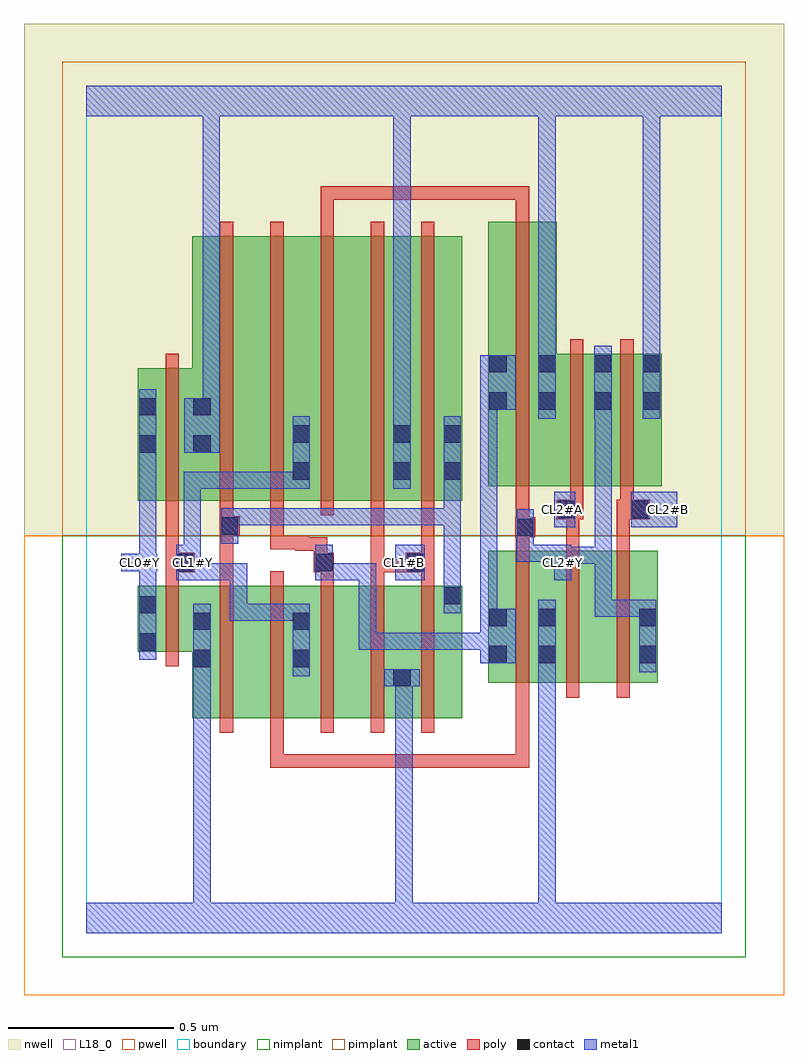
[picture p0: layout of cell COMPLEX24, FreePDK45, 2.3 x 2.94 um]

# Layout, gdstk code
import gdstk
lib = gdstk.Library(unit=1e-6, precision=1e-09)
def R(c, l, rs):  # rectangles x0, y0, x1, y1
    for r in rs: c.add(gdstk.rectangle(r[:2], r[2:], *l))
def A(c, l, x, y, w, h, nx, ny, dx, dy):  # array of equal rectangles
    R(c, l, [(x+i*dx, y+j*dy, x+i*dx+w, y+j*dy+h) for i in range(nx) for j in range(ny)])
active = (1, 0)
pwell = (2, 0)
nwell = (3, 0)
nimplant = (4, 0)
pimplant = (5, 0)
poly = (9, 0)
contact = (10, 0)
metal1 = (11, 0)
L18_0 = (18, 0)
boundary = (235, 0)

complex24 = lib.new_cell('COMPLEX24')
R(complex24, active, [(0.32,0.65,0.38,1.05), (0.32,0.65,0.5,1.05), (0.5,0.65,0.68,1.05), (0.62,0.65,0.804,1.05), (0.804,0.65,0.984,1.05), (0.924,0.65,0.984,1.05), (0.924,0.65,1.136,1.05), (1.076,0.65,1.136,1.05), (0.62,0.756,0.68,1.05), (1.214,0.756,1.274,1.156), (1.214,0.756,1.422,1.156), (1.362,0.756,1.546,1.156), (1.362,0.756,1.422,0.984), (1.546,0.756,1.726,1.156), (1.666,0.756,1.726,1.156), (0.156,0.85,0.38,1.05), (0.156,0.85,0.216,1.05), (0.156,1.306,0.216,1.706), (0.156,1.306,0.38,1.706), (0.32,1.306,0.5,2.106), (0.5,1.306,0.68,2.106), (0.62,1.306,0.804,2.106), (0.804,1.306,0.984,2.106), (0.924,1.306,1.136,2.106), (1.076,1.306,1.136,2.106), (0.62,1.338,0.68,2.044), (0.924,1.338,0.984,2.044), (1.214,1.35,1.422,2.15), (1.214,1.35,1.274,2.044), (1.362,1.35,1.59,1.75), (1.53,1.35,1.59,1.75), (1.53,1.35,1.738,1.75), (1.678,1.35,1.738,1.75), (1.362,1.388,1.422,1.878), (0.32,1.408,0.38,2.106)])
R(complex24, pwell, [(-0.188,-0.188,2.108,1.2)])
R(complex24, nwell, [(-0.188,1.2,2.108,2.748)])
R(complex24, nimplant, [(-0.072,-0.072,1.992,1.2)])
R(complex24, pimplant, [(-0.072,1.2,1.992,2.632)])
A(complex24, poly, 0.404, 0.606, 0.04, 0.488, 5, 1, 0.152, 0)
A(complex24, poly, 1.298, 0.712, 0.04, 0.488, 3, 1, 0.152, 0)
A(complex24, poly, 0.708, 1.054, 0.04, 0.076, 3, 1, 0.152, 0)
A(complex24, poly, 0.404, 1.262, 0.04, 0.888, 5, 1, 0.152, 0)
R(complex24, poly, [(0.556,0.5,0.596,0.54), (0.556,0.5,0.596,0.54), (0.556,0.5,0.596,0.54), (0.556,0.5,0.596,0.646), (0.556,0.5,0.778,0.54), (0.738,0.5,0.778,0.54), (0.738,0.5,0.778,0.54), (0.738,0.5,0.778,0.54), (0.738,0.5,0.884,0.54), (0.844,0.5,0.884,0.54), (0.844,0.5,0.884,0.54), (0.844,0.5,0.884,0.54), (0.844,0.5,1.112,0.54), (1.072,0.5,1.112,0.54), (1.072,0.5,1.112,0.54), (1.072,0.5,1.112,0.54), (1.072,0.5,1.338,0.54), (1.298,0.5,1.338,0.54), (1.298,0.5,1.338,0.54), (1.298,0.5,1.338,0.54), (1.298,0.5,1.338,0.752), (0.24,0.806,0.28,1.094), (0.24,1.054,0.28,1.13), (0.404,1.054,0.444,1.24), (0.24,1.09,0.328,1.15), (0.688,1.09,0.748,1.15), (0.86,1.09,0.9,1.13), (0.86,1.09,0.9,1.13), (0.86,1.09,0.9,1.13), (0.86,1.09,1.006,1.13), (0.86,1.09,0.9,1.302), (0.966,1.09,1.006,1.13), (0.966,1.09,1.006,1.13), (0.966,1.09,1.052,1.15), (0.24,1.11,0.28,1.15), (0.24,1.11,0.28,1.15), (0.24,1.11,0.28,1.302), (0.688,1.11,0.728,1.196), (1.012,1.11,1.052,1.15), (1.012,1.11,1.052,1.15), (1.012,1.11,1.052,1.302), (0.632,1.156,0.728,1.196), (0.632,1.156,0.672,1.2), (0.688,1.156,0.728,1.196), (0.556,1.16,0.596,1.2), (0.556,1.16,0.672,1.2), (0.556,1.16,0.596,1.302), (1.298,1.16,1.338,1.236), (1.45,1.16,1.49,1.29), (1.602,1.16,1.642,1.29), (1.296,1.196,1.356,1.256), (0.404,1.2,0.444,1.24), (0.404,1.2,0.444,1.24), (0.404,1.2,0.464,1.26), (1.298,1.216,1.338,1.256), (1.298,1.216,1.338,1.256), (1.298,1.216,1.338,1.346), (0.404,1.22,0.444,1.302), (1.422,1.25,1.502,1.31), (1.45,1.25,1.49,1.29), (1.45,1.25,1.49,1.29), (1.602,1.25,1.702,1.31), (0.24,1.262,0.28,1.75), (1.462,1.27,1.502,1.346), (1.614,1.27,1.654,1.346), (1.614,1.27,1.654,1.31), (1.614,1.27,1.654,1.31), (1.298,1.306,1.338,2.194), (1.462,1.306,1.502,1.794), (1.614,1.306,1.654,1.794), (0.708,2.11,0.748,2.256), (1.298,2.154,1.338,2.256), (0.708,2.216,0.748,2.256), (0.708,2.216,0.778,2.256), (0.738,2.216,0.778,2.256), (0.738,2.216,0.9,2.256), (0.86,2.216,0.9,2.256), (0.86,2.216,0.9,2.256), (0.86,2.216,0.9,2.256), (0.86,2.216,1.124,2.256), (1.084,2.216,1.124,2.256), (1.084,2.216,1.124,2.256), (1.084,2.216,1.124,2.256), (1.084,2.216,1.338,2.256), (1.298,2.216,1.338,2.256), (1.298,2.216,1.338,2.256), (1.298,2.216,1.338,2.256)])
R(complex24, contact, [(0.928,0.746,0.98,0.798), (0.324,0.804,0.376,0.856), (0.624,0.804,0.676,0.856), (1.218,0.816,1.27,0.868), (1.366,0.816,1.418,0.868), (1.67,0.816,1.722,0.868), (0.16,0.854,0.212,0.906), (0.324,0.916,0.376,0.968), (0.624,0.916,0.676,0.968), (1.218,0.928,1.27,0.98), (1.366,0.928,1.418,0.98), (1.67,0.928,1.722,0.98), (0.16,0.966,0.212,1.018), (1.08,0.994,1.132,1.046), (0.272,1.094,0.324,1.146), (0.692,1.094,0.744,1.146), (0.97,1.094,1.022,1.146), (1.3,1.2,1.352,1.252), (0.408,1.204,0.46,1.256), (1.426,1.254,1.478,1.306), (1.646,1.254,1.698,1.306), (0.624,1.37,0.676,1.422), (0.928,1.37,0.98,1.422), (1.08,1.37,1.132,1.422), (0.16,1.452,0.212,1.504), (0.324,1.452,0.376,1.504), (0.624,1.482,0.676,1.534), (0.928,1.482,0.98,1.534), (1.08,1.482,1.132,1.534), (0.16,1.564,0.212,1.616), (0.324,1.564,0.376,1.616), (1.218,1.582,1.27,1.634), (1.366,1.582,1.418,1.634), (1.534,1.582,1.586,1.634), (1.682,1.582,1.734,1.634), (1.218,1.694,1.27,1.746), (1.366,1.694,1.418,1.746), (1.534,1.694,1.586,1.746), (1.682,1.694,1.734,1.746)])
R(complex24, metal1, [(0,0,1.92,0.092), (0.324,0.04,0.376,0.092), (0.324,0.04,0.376,0.092), (0.324,0.04,0.376,0.092), (0.324,0.04,0.376,0.092), (0.324,0.04,0.376,0.092), (0.324,0.04,0.376,0.092), (0.324,0.04,0.376,0.828), (0.934,0.04,0.986,0.092), (0.934,0.04,0.986,0.092), (0.934,0.04,0.986,0.092), (0.934,0.04,0.986,0.092), (0.934,0.04,0.986,0.092), (0.934,0.04,0.986,0.092), (0.934,0.04,0.986,0.092), (0.934,0.04,0.986,0.092), (0.934,0.04,0.986,0.092), (0.934,0.04,0.986,0.092), (0.934,0.04,0.986,0.092), (0.934,0.04,0.986,0.092), (0.934,0.04,0.986,0.798), (1.366,0.04,1.418,0.092), (1.366,0.04,1.418,0.092), (1.366,0.04,1.418,0.84), (0.9,0.746,1.008,0.798), (0.324,0.776,0.376,0.828), (0.324,0.776,0.376,0.828), (0.324,0.776,0.376,0.828), (0.324,0.776,0.376,0.828), (0.324,0.776,0.376,0.828), (0.324,0.776,0.376,0.828), (0.324,0.776,0.376,0.996), (0.624,0.776,0.676,0.996), (1.366,0.788,1.418,0.84), (1.366,0.788,1.418,0.84), (1.366,0.788,1.418,0.84), (1.366,0.788,1.418,0.84), (1.366,0.788,1.418,0.84), (1.366,0.788,1.418,0.84), (1.366,0.788,1.418,0.84), (1.366,0.788,1.418,0.84), (1.366,0.788,1.418,0.84), (1.366,0.788,1.418,0.84), (1.366,0.788,1.418,1.008), (1.67,0.788,1.722,1.008), (1.19,0.816,1.298,0.98), (0.16,0.826,0.212,1.046), (0.824,0.856,0.876,0.908), (0.824,0.856,0.876,1.118), (0.824,0.856,1.08,0.908), (1.028,0.856,1.08,0.908), (1.028,0.856,1.242,0.908), (1.19,0.856,1.242,0.908), (1.19,0.856,1.242,0.908), (1.19,0.928,1.242,0.98), (1.19,0.928,1.242,0.98), (1.19,0.928,1.242,0.98), (1.19,0.928,1.242,0.98), (1.19,0.928,1.242,1.634), (0.434,0.944,0.486,0.996), (0.434,0.944,0.634,0.996), (0.434,0.944,0.486,1.118), (0.582,0.944,0.634,0.996), (0.582,0.944,0.676,0.996), (1.536,0.956,1.588,1.008), (1.536,0.956,1.722,1.008), (1.536,0.956,1.588,1.168), (1.67,0.956,1.722,1.008), (1.67,0.956,1.722,1.008), (1.08,0.966,1.132,1.074), (0.16,0.994,0.212,1.146), (1.08,1.022,1.132,1.284), (0.272,1.066,0.346,1.174), (0.294,1.066,0.346,1.118), (0.294,1.066,0.346,1.118), (0.294,1.066,0.486,1.118), (0.294,1.066,0.346,1.394), (0.434,1.066,0.486,1.118), (0.434,1.066,0.486,1.118), (0.434,1.066,0.486,1.118), (0.692,1.066,0.744,1.118), (0.692,1.066,0.744,1.118), (0.692,1.066,0.744,1.174), (0.692,1.066,0.876,1.118), (0.824,1.066,0.876,1.118), (0.824,1.066,0.876,1.118), (0.824,1.066,0.876,1.118), (0.824,1.066,0.876,1.118), (0.824,1.066,0.876,1.118), (0.934,1.066,1.022,1.174), (1.414,1.066,1.466,1.174), (0.106,1.094,0.214,1.146), (0.16,1.094,0.212,1.476), (1.414,1.116,1.588,1.168), (1.536,1.116,1.588,1.168), (1.536,1.116,1.588,1.168), (1.536,1.116,1.588,1.168), (1.536,1.116,1.588,1.168), (1.536,1.116,1.588,1.168), (1.536,1.116,1.588,1.606), (1.3,1.122,1.466,1.174), (1.3,1.122,1.352,1.28), (0.408,1.176,0.46,1.284), (1.414,1.226,1.478,1.334), (1.646,1.226,1.786,1.334), (0.408,1.232,0.46,1.284), (0.408,1.232,0.46,1.284), (0.408,1.232,0.634,1.284), (0.582,1.232,0.634,1.284), (0.582,1.232,0.634,1.284), (0.582,1.232,0.634,1.284), (0.582,1.232,0.744,1.284), (0.692,1.232,0.744,1.284), (0.692,1.232,0.744,1.284), (0.692,1.232,0.744,1.284), (0.692,1.232,0.854,1.284), (0.802,1.232,0.854,1.284), (0.802,1.232,0.854,1.284), (0.802,1.232,0.854,1.284), (0.802,1.232,1.132,1.284), (1.08,1.232,1.132,1.284), (1.08,1.232,1.132,1.284), (1.08,1.232,1.132,1.284), (1.08,1.232,1.132,1.284), (1.08,1.232,1.132,1.284), (1.08,1.232,1.132,1.394), (0.294,1.342,0.346,1.394), (0.294,1.342,0.346,1.394), (0.294,1.342,0.346,1.394), (0.294,1.342,0.524,1.394), (0.472,1.342,0.524,1.394), (0.472,1.342,0.524,1.394), (0.472,1.342,0.524,1.394), (0.472,1.342,0.634,1.394), (0.582,1.342,0.634,1.394), (0.582,1.342,0.676,1.394), (0.624,1.342,0.676,1.562), (0.928,1.342,0.98,1.562), (1.08,1.342,1.132,1.562), (0.16,1.424,0.212,1.476), (0.16,1.424,0.212,1.476), (0.16,1.424,0.212,1.644), (0.296,1.452,0.404,1.616), (0.928,1.51,0.98,1.562), (0.928,1.51,0.98,1.562), (0.928,1.51,0.98,2.52), (1.366,1.554,1.418,1.774), (1.534,1.554,1.588,1.774), (1.682,1.554,1.734,1.774), (0.352,1.564,0.404,1.616), (0.352,1.564,0.404,1.616), (0.352,1.564,0.404,2.52), (1.19,1.582,1.242,1.634), (1.19,1.582,1.242,1.634), (1.19,1.582,1.298,1.746), (1.366,1.722,1.418,1.774), (1.366,1.722,1.418,1.774), (1.366,1.722,1.418,2.52), (1.682,1.722,1.734,1.774), (1.682,1.722,1.734,1.774), (1.682,1.722,1.734,1.774), (1.682,1.722,1.734,1.774), (1.682,1.722,1.734,1.774), (1.682,1.722,1.734,1.774), (1.682,1.722,1.734,1.774), (1.682,1.722,1.734,1.774), (1.682,1.722,1.734,2.52), (0,2.468,1.92,2.56), (0.352,2.468,0.404,2.52), (0.352,2.468,0.404,2.52), (0.352,2.468,0.404,2.52), (0.352,2.468,0.404,2.52), (0.352,2.468,0.404,2.52), (0.352,2.468,0.404,2.52), (0.928,2.468,0.98,2.52), (0.928,2.468,0.98,2.52), (0.928,2.468,0.98,2.52), (0.928,2.468,0.98,2.52), (0.928,2.468,0.98,2.52), (0.928,2.468,0.98,2.52), (1.366,2.468,1.418,2.52), (1.366,2.468,1.418,2.52), (1.366,2.468,1.418,2.52), (1.366,2.468,1.418,2.52), (1.366,2.468,1.418,2.52), (1.366,2.468,1.418,2.52), (1.682,2.468,1.734,2.52), (1.682,2.468,1.734,2.52), (1.682,2.468,1.734,2.52), (1.682,2.468,1.734,2.52), (1.682,2.468,1.734,2.52), (1.682,2.468,1.734,2.52), (1.682,2.468,1.734,2.52), (1.682,2.468,1.734,2.52)])
R(complex24, L18_0, [(0,0,1.92,0.092), (0.324,0.04,0.376,0.092), (0.324,0.04,0.376,0.092), (0.324,0.04,0.376,0.092), (0.324,0.04,0.376,0.092), (0.324,0.04,0.376,0.092), (0.324,0.04,0.376,0.092), (0.324,0.04,0.376,0.828), (0.934,0.04,0.986,0.092), (0.934,0.04,0.986,0.092), (0.934,0.04,0.986,0.092), (0.934,0.04,0.986,0.092), (0.934,0.04,0.986,0.092), (0.934,0.04,0.986,0.092), (0.934,0.04,0.986,0.092), (0.934,0.04,0.986,0.092), (0.934,0.04,0.986,0.092), (0.934,0.04,0.986,0.092), (0.934,0.04,0.986,0.092), (0.934,0.04,0.986,0.092), (0.934,0.04,0.986,0.798), (1.366,0.04,1.418,0.092), (1.366,0.04,1.418,0.092), (1.366,0.04,1.418,0.84), (0.9,0.746,1.008,0.798), (0.324,0.776,0.376,0.996), (0.324,0.776,0.376,0.828), (0.324,0.776,0.376,0.828), (0.324,0.776,0.376,0.828), (0.324,0.776,0.376,0.828), (0.324,0.776,0.376,0.828), (0.324,0.776,0.376,0.828), (0.624,0.776,0.676,0.996), (1.366,0.788,1.418,1.008), (1.366,0.788,1.418,0.84), (1.366,0.788,1.418,0.84), (1.366,0.788,1.418,0.84), (1.366,0.788,1.418,0.84), (1.366,0.788,1.418,0.84), (1.366,0.788,1.418,0.84), (1.366,0.788,1.418,0.84), (1.366,0.788,1.418,0.84), (1.366,0.788,1.418,0.84), (1.366,0.788,1.418,0.84), (1.67,0.788,1.722,1.008), (0.16,0.826,0.212,1.046), (0.434,0.944,0.486,0.996), (0.434,0.944,0.486,1.118), (0.434,0.944,0.634,0.996), (0.582,0.944,0.634,0.996), (0.582,0.944,0.676,0.996), (1.536,0.956,1.588,1.008), (1.536,0.956,1.588,1.168), (1.536,0.956,1.722,1.008), (1.67,0.956,1.722,1.008), (1.67,0.956,1.722,1.008), (0.16,0.994,0.212,1.146), (0.272,1.066,0.346,1.174), (0.294,1.066,0.346,1.118), (0.294,1.066,0.346,1.118), (0.294,1.066,0.346,1.394), (0.294,1.066,0.486,1.118), (0.434,1.066,0.486,1.118), (0.434,1.066,0.486,1.118), (0.434,1.066,0.486,1.118), (0.934,1.066,1.022,1.174), (1.414,1.066,1.466,1.174), (0.106,1.094,0.214,1.146), (0.134,1.094,0.186,1.146), (0.16,1.094,0.212,1.476), (0.294,1.094,0.346,1.146), (0.934,1.094,0.986,1.146), (1.414,1.094,1.466,1.146), (1.414,1.116,1.588,1.168), (1.536,1.116,1.588,1.168), (1.536,1.116,1.588,1.168), (1.536,1.116,1.588,1.168), (1.536,1.116,1.588,1.168), (1.536,1.116,1.588,1.168), (1.536,1.116,1.588,1.606), (1.3,1.122,1.352,1.28), (1.3,1.122,1.466,1.174), (1.414,1.226,1.478,1.334), (1.646,1.226,1.786,1.334), (1.414,1.254,1.466,1.306), (1.734,1.254,1.786,1.306), (0.294,1.342,0.346,1.394), (0.294,1.342,0.346,1.394), (0.294,1.342,0.346,1.394), (0.294,1.342,0.524,1.394), (0.472,1.342,0.524,1.394), (0.472,1.342,0.524,1.394), (0.472,1.342,0.524,1.394), (0.472,1.342,0.634,1.394), (0.582,1.342,0.634,1.394), (0.582,1.342,0.676,1.394), (0.624,1.342,0.676,1.562), (0.928,1.342,0.98,1.562), (0.16,1.424,0.212,1.644), (0.16,1.424,0.212,1.476), (0.16,1.424,0.212,1.476), (0.296,1.452,0.404,1.616), (0.928,1.51,0.98,1.562), (0.928,1.51,0.98,1.562), (0.928,1.51,0.98,2.52), (1.366,1.554,1.418,1.774), (1.534,1.554,1.588,1.774), (1.682,1.554,1.734,1.774), (0.352,1.564,0.404,1.616), (0.352,1.564,0.404,1.616), (0.352,1.564,0.404,2.52), (1.366,1.722,1.418,1.774), (1.366,1.722,1.418,1.774), (1.366,1.722,1.418,2.52), (1.682,1.722,1.734,1.774), (1.682,1.722,1.734,1.774), (1.682,1.722,1.734,1.774), (1.682,1.722,1.734,1.774), (1.682,1.722,1.734,1.774), (1.682,1.722,1.734,1.774), (1.682,1.722,1.734,1.774), (1.682,1.722,1.734,1.774), (1.682,1.722,1.734,2.52), (0,2.468,1.92,2.56), (0.352,2.468,0.404,2.52), (0.352,2.468,0.404,2.52), (0.352,2.468,0.404,2.52), (0.352,2.468,0.404,2.52), (0.352,2.468,0.404,2.52), (0.352,2.468,0.404,2.52), (0.928,2.468,0.98,2.52), (0.928,2.468,0.98,2.52), (0.928,2.468,0.98,2.52), (0.928,2.468,0.98,2.52), (0.928,2.468,0.98,2.52), (0.928,2.468,0.98,2.52), (1.366,2.468,1.418,2.52), (1.366,2.468,1.418,2.52), (1.366,2.468,1.418,2.52), (1.366,2.468,1.418,2.52), (1.366,2.468,1.418,2.52), (1.366,2.468,1.418,2.52), (1.682,2.468,1.734,2.52), (1.682,2.468,1.734,2.52), (1.682,2.468,1.734,2.52), (1.682,2.468,1.734,2.52), (1.682,2.468,1.734,2.52), (1.682,2.468,1.734,2.52), (1.682,2.468,1.734,2.52), (1.682,2.468,1.734,2.52)])
R(complex24, boundary, [(0,0,1.92,2.56)])
complex24.add(gdstk.Label('CL0#Y', (0.16,1.12), layer=11, texttype=0))
complex24.add(gdstk.Label('CL1#B', (0.96,1.12), layer=11, texttype=0))
complex24.add(gdstk.Label('CL1#Y', (0.32,1.12), layer=11, texttype=0))
complex24.add(gdstk.Label('CL2#A', (1.44,1.28), layer=11, texttype=0))
complex24.add(gdstk.Label('CL2#B', (1.76,1.28), layer=11, texttype=0))
complex24.add(gdstk.Label('CL2#Y', (1.44,1.12), layer=11, texttype=0))

lib.write_gds('COMPLEX24.gds')
